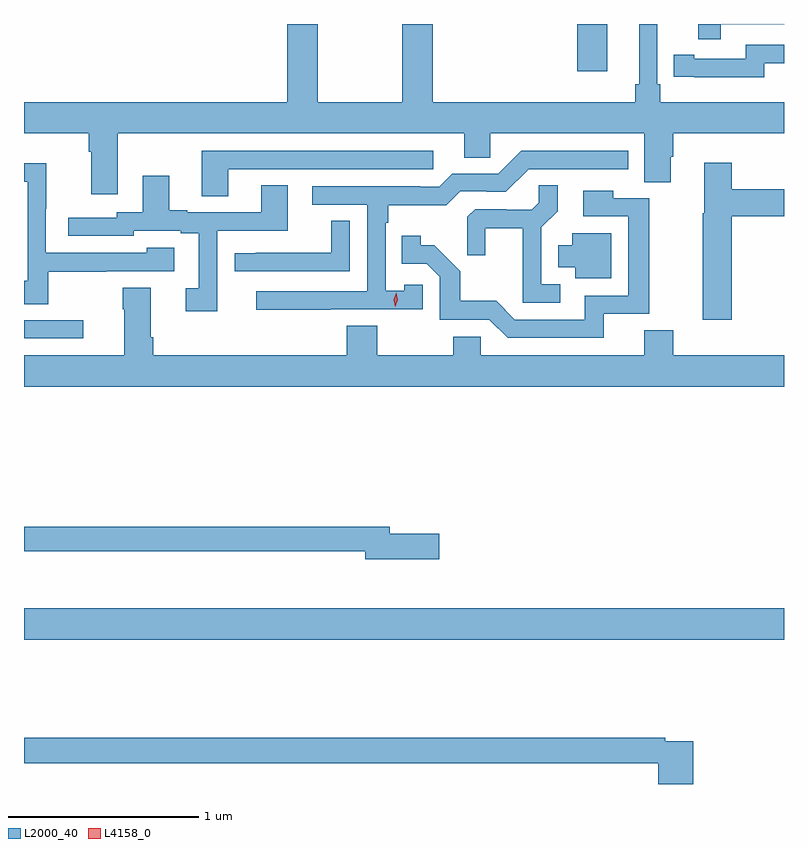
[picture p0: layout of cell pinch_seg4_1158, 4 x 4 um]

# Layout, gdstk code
import gdstk
lib = gdstk.Library(unit=1e-6, precision=1e-09)
def R(c, l, rs):  # rectangles x0, y0, x1, y1
    for r in rs: c.add(gdstk.rectangle(r[:2], r[2:], *l))
def P(c, l, *ps):  # polygons
    for p in ps: c.add(gdstk.Polygon(p, *l))
L2000_40 = (2000, 40)
L4158_0 = (4158, 0)

pinch_seg4_1158 = lib.new_cell('pinch_seg4_1158')
R(pinch_seg4_1158, L2000_40, [(395.093,775.508,399.093,775.672), (395.093,777.093,395.404,777.189), (398.006,778.5,398.164,778.748)])
P(pinch_seg4_1158, L2000_40, [(398.759,778.746),(399.093,778.746),(399.093,778.748),(398.642,778.748),(398.642,778.668),(398.759,778.668)],
  [(395.587,778.172),(397.409,778.172),(397.409,778.045),(397.548,778.045),(397.548,778.172),(398.357,778.172),(398.357,777.916),(398.497,777.916),(398.497,778.05),(398.51,778.05),(398.51,778.172),(399.093,778.172),(399.093,778.336),(398.441,778.336),(398.441,778.432),(398.427,778.432),(398.427,778.748),(398.33,778.748),(398.33,778.432),(398.311,778.432),(398.311,778.336),(397.244,778.336),(397.244,778.748),(397.084,778.748),(397.084,778.336),(396.639,778.336),(396.639,778.748),(396.479,778.748),(396.479,778.336),(395.093,778.336),(395.093,778.172),(395.435,778.172),(395.435,778.076),(395.447,778.076),(395.447,777.852),(395.587,777.852)],
  [(398.988,778.542),(399.093,778.542),(399.093,778.638),(398.892,778.638),(398.892,778.566),(398.62,778.566),(398.62,778.586),(398.512,778.586),(398.512,778.47),(398.62,778.47),(398.62,778.469),(398.988,778.469)],
  [(396.707,777.246),(397.191,777.246),(397.191,777.375),(397.095,777.375),(397.095,777.343),(396.996,777.343),(396.996,777.701),(397.009,777.701),(397.009,777.794),(397.316,777.794),(397.389,777.867),(397.528,777.867),(397.528,777.864),(397.629,777.864),(397.749,777.984),(398.272,777.984),(398.272,778.08),(397.71,778.08),(397.59,777.96),(397.347,777.96),(397.278,777.891),(397.178,777.891),(397.178,777.894),(396.609,777.894),(396.609,777.798),(396.9,777.798),(396.9,777.342),(396.315,777.342),(396.315,777.244),(396.707,777.244)],
  [(396.169,777.984),(397.246,777.984),(397.246,778.08),(396.029,778.08),(396.029,777.841),(396.169,777.841)],
  [(398.819,777.737),(399.093,777.737),(399.093,777.879),(398.819,777.879),(398.819,778.018),(398.672,778.018),(398.672,777.753),(398.665,777.753),(398.665,777.192),(398.819,777.192)],
  [(395.221,777.445),(395.525,777.445),(395.525,777.447),(395.884,777.447),(395.884,777.571),(395.739,777.571),(395.739,777.543),(395.208,777.543),(395.208,777.776),(395.211,777.776),(395.211,778.015),(395.093,778.015),(395.093,777.917),(395.112,777.917),(395.112,777.396),(395.093,777.396),(395.093,777.274),(395.221,777.274)],
  [(396.111,777.66),(396.481,777.66),(396.481,777.899),(396.341,777.899),(396.341,777.756),(395.953,777.756),(395.953,777.769),(395.857,777.769),(395.857,777.949),(395.717,777.949),(395.717,777.756),(395.58,777.756),(395.58,777.729),(395.325,777.729),(395.325,777.633),(395.67,777.633),(395.67,777.66),(395.918,777.66),(395.918,777.648),(396.014,777.648),(396.014,777.357),(395.943,777.357),(395.943,777.237),(396.111,777.237)],
  [(397.915,777.378),(397.815,777.378),(397.815,777.677),(397.901,777.763),(397.901,777.899),(397.803,777.899),(397.803,777.808),(397.766,777.771),(397.632,777.771),(397.632,777.774),(397.467,777.774),(397.426,777.733),(397.426,777.531),(397.52,777.531),(397.52,777.674),(397.718,777.674),(397.718,777.282),(397.915,777.282)],
  [(398.144,777.222),(398.383,777.222),(398.383,777.831),(398.193,777.831),(398.193,777.871),(398.037,777.871),(398.037,777.735),(398.274,777.735),(398.274,777.318),(398.045,777.318),(398.045,777.192),(397.677,777.192),(397.579,777.291),(397.39,777.291),(397.39,777.446),(397.252,777.584),(397.182,777.584),(397.182,777.634),(397.081,777.634),(397.081,777.486),(397.212,777.486),(397.281,777.417),(397.281,777.192),(397.542,777.192),(397.638,777.096),(398.144,777.096)],
  [(396.807,777.713),(396.709,777.713),(396.709,777.543),(396.313,777.543),(396.313,777.542),(396.201,777.542),(396.201,777.447),(396.807,777.447)],
  [(398.185,777.646),(397.979,777.646),(397.979,777.583),(397.904,777.583),(397.904,777.467),(397.994,777.467),(397.994,777.41),(398.185,777.41)],
  [(395.614,777.248),(395.621,777.248),(395.621,777.004),(395.093,777.004),(395.093,776.84),(399.093,776.84),(399.093,777.004),(398.51,777.004),(398.51,777.137),(398.357,777.137),(398.357,777.004),(397.497,777.004),(397.497,777.102),(397.351,777.102),(397.351,777.004),(396.951,777.004),(396.951,777.161),(396.791,777.161),(396.791,777.004),(395.774,777.004),(395.774,777.1),(395.761,777.1),(395.761,777.361),(395.614,777.361)],
  [(397.279,776.066),(397.018,776.066),(397.018,776.102),(395.093,776.102),(395.093,775.974),(396.89,775.974),(396.89,775.931),(397.279,775.931)],
  [(398.615,774.972),(398.468,774.972),(398.468,774.992),(395.093,774.992),(395.093,774.856),(398.432,774.856),(398.432,774.748),(398.615,774.748)])
P(pinch_seg4_1158, L4158_0, [(397.048,777.261),(397.048,777.261),(397.04,777.298),(397.051,777.333),(397.051,777.333),(397.051,777.333),(397.059,777.297),(397.048,777.261)])

lib.write_gds('pinch_seg4_1158.gds')
